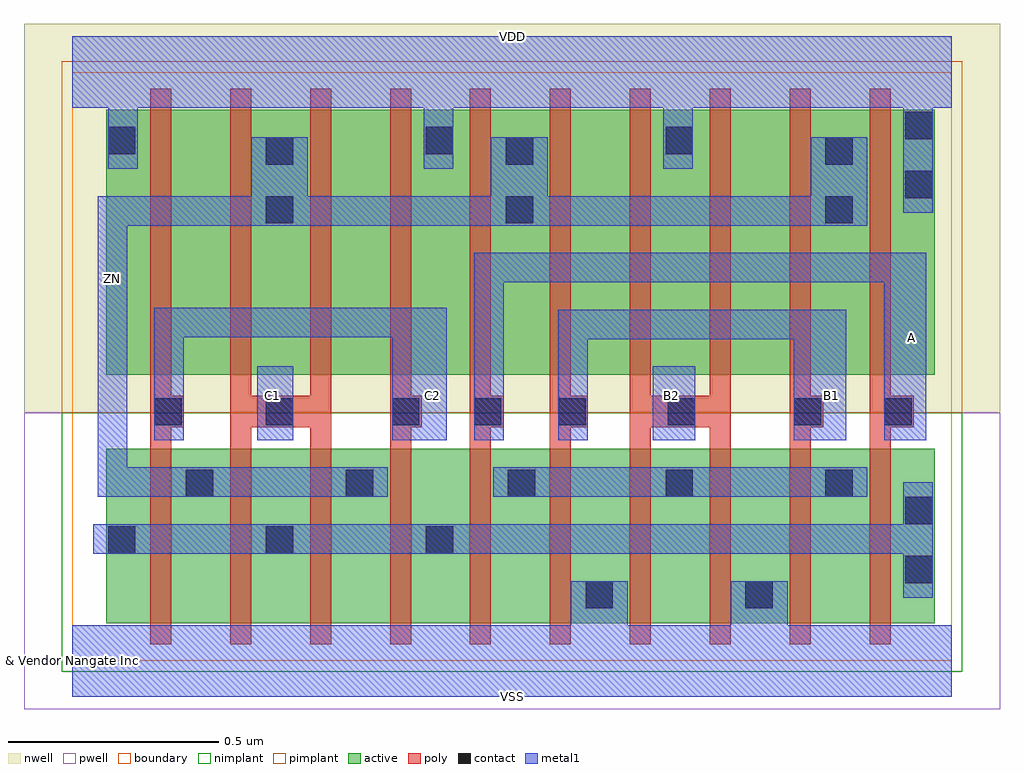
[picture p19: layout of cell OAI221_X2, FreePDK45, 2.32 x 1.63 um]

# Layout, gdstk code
import gdstk
lib = gdstk.Library(unit=1e-6, precision=1e-10)
def R(c, l, rs):  # rectangles x0, y0, x1, y1
    for r in rs: c.add(gdstk.rectangle(r[:2], r[2:], *l))
def P(c, l, *ps):  # polygons
    for p in ps: c.add(gdstk.Polygon(p, *l))
active = (1, 0)
pwell = (2, 0)
nwell = (3, 0)
nimplant = (4, 0)
pimplant = (5, 0)
poly = (9, 0)
contact = (10, 0)
metal1 = (11, 0)
boundary = (235, 0)

oai221_x2 = lib.new_cell('OAI221_X2')
R(oai221_x2, active, [(0.08,0.09,2.05,0.505), (0.08,0.68,2.05,1.31)])
R(oai221_x2, pwell, [(-0.115,-0.115,2.205,0.59)])
R(oai221_x2, nwell, [(-0.115,0.59,2.205,1.515)])
R(oai221_x2, nimplant, [(-0.025,-0.025,2.115,0.59)])
R(oai221_x2, pimplant, [(-0.025,0.59,2.115,1.425)])
P(oai221_x2, poly, [(0.185,0.04),(0.185,1.36),(0.235,1.36),(0.235,0.63),(0.265,0.63),(0.265,0.555),(0.235,0.555),(0.235,0.04)],
  [(0.375,0.04),(0.375,1.36),(0.425,1.36),(0.425,0.63),(0.565,0.63),(0.565,1.36),(0.615,1.36),(0.615,0.04),(0.565,0.04),(0.565,0.555),(0.425,0.555),(0.425,0.04)],
  [(0.755,0.04),(0.755,1.36),(0.805,1.36),(0.805,0.63),(0.83,0.63),(0.83,0.555),(0.805,0.555),(0.805,0.04)],
  [(0.945,0.04),(0.945,1.36),(0.995,1.36),(0.995,0.63),(1.025,0.63),(1.025,0.555),(0.995,0.555),(0.995,0.04)],
  [(1.135,0.04),(1.135,1.36),(1.185,1.36),(1.185,0.63),(1.225,0.63),(1.225,0.555),(1.185,0.555),(1.185,0.04)],
  [(1.325,0.04),(1.325,1.36),(1.375,1.36),(1.375,0.63),(1.515,0.63),(1.515,1.36),(1.565,1.36),(1.565,0.04),(1.515,0.04),(1.515,0.555),(1.375,0.555),(1.375,0.04)],
  [(1.705,0.04),(1.705,1.36),(1.755,1.36),(1.755,0.63),(1.785,0.63),(1.785,0.555),(1.755,0.555),(1.755,0.04)],
  [(1.895,0.04),(1.895,1.36),(1.945,1.36),(1.945,0.63),(2,0.63),(2,0.555),(1.945,0.555),(1.945,0.04)])
R(oai221_x2, contact, [(1.22,0.125,1.285,0.19), (1.6,0.125,1.665,0.19), (1.98,0.185,2.045,0.25), (0.085,0.255,0.15,0.32), (0.46,0.255,0.525,0.32), (0.84,0.255,0.905,0.32), (1.98,0.325,2.045,0.39), (0.27,0.39,0.335,0.455), (0.65,0.39,0.715,0.455), (1.035,0.39,1.1,0.455), (1.41,0.39,1.475,0.455), (1.79,0.39,1.855,0.455), (0.195,0.56,0.26,0.625), (0.46,0.56,0.525,0.625), (0.76,0.56,0.825,0.625), (0.955,0.56,1.02,0.625), (1.155,0.56,1.22,0.625), (1.415,0.56,1.48,0.625), (1.715,0.56,1.78,0.625), (1.93,0.56,1.995,0.625), (0.46,1.04,0.525,1.105), (1.03,1.04,1.095,1.105), (1.79,1.04,1.855,1.105), (1.98,1.1,2.045,1.165), (0.46,1.18,0.525,1.245), (1.03,1.18,1.095,1.245), (1.79,1.18,1.855,1.245), (0.085,1.205,0.15,1.27), (0.84,1.205,0.905,1.27), (1.41,1.205,1.475,1.27), (1.98,1.24,2.045,1.305)])
R(oai221_x2, metal1, [(1,0.39,1.89,0.46), (0.44,0.525,0.525,0.7), (1.38,0.525,1.48,0.7)])
P(oai221_x2, metal1, [(0.195,0.525),(0.195,0.84),(0.89,0.84),(0.89,0.525),(0.76,0.525),(0.76,0.77),(0.265,0.77),(0.265,0.525)],
  [(1.155,0.525),(1.155,0.835),(1.84,0.835),(1.84,0.525),(1.715,0.525),(1.715,0.765),(1.225,0.765),(1.225,0.525)],
  [(0.06,0.39),(0.06,1.105),(0.425,1.105),(0.425,1.245),(0.56,1.245),(0.56,1.105),(0.995,1.105),(0.995,1.245),(1.13,1.245),(1.13,1.105),(1.755,1.105),(1.755,1.245),(1.89,1.245),(1.89,1.035),(0.13,1.035),(0.13,0.46),(0.75,0.46),(0.75,0.39)],
  [(0.955,0.525),(0.955,0.97),(2.03,0.97),(2.03,0.525),(1.93,0.525),(1.93,0.9),(1.025,0.9),(1.025,0.525)],
  [(1.975,0.15),(1.975,0.255),(0.05,0.255),(0.05,0.325),(1.975,0.325),(1.975,0.425),(2.045,0.425),(2.045,0.15)],
  [(0,-0.085),(0,0.085),(1.185,0.085),(1.185,0.19),(1.32,0.19),(1.32,0.085),(1.565,0.085),(1.565,0.19),(1.7,0.19),(1.7,0.085),(2.09,0.085),(2.09,-0.085)],
  [(1.975,1.065),(1.975,1.315),(1.475,1.315),(1.475,1.17),(1.405,1.17),(1.405,1.315),(0.905,1.315),(0.905,1.17),(0.835,1.17),(0.835,1.315),(0.155,1.315),(0.155,1.17),(0.085,1.17),(0.085,1.315),(0,1.315),(0,1.485),(2.09,1.485),(2.09,1.315),(2.045,1.315),(2.045,1.065)])
R(oai221_x2, boundary, [(0,0,2.09,1.4)])
oai221_x2.add(gdstk.Label('A', (1.995,0.77), layer=11, texttype=0))
oai221_x2.add(gdstk.Label('B1', (1.805,0.63), layer=11, texttype=0))
oai221_x2.add(gdstk.Label('B2', (1.425,0.63), layer=11, texttype=0))
oai221_x2.add(gdstk.Label('C1', (0.475,0.63), layer=11, texttype=0))
oai221_x2.add(gdstk.Label('C2', (0.855,0.63), layer=11, texttype=0))
oai221_x2.add(gdstk.Label('VDD', (1.045,1.485), layer=11, texttype=0))
oai221_x2.add(gdstk.Label('VSS', (1.045,-0.085), layer=11, texttype=0))
oai221_x2.add(gdstk.Label('ZN', (0.095,0.91), layer=11, texttype=0))
oai221_x2.add(gdstk.Label('& Vendor Nangate Inc', (0,0), layer=63, texttype=63))
oai221_x2.add(gdstk.Label('& Product Open Cell Library', (0,0), layer=63, texttype=63))
oai221_x2.add(gdstk.Label('& Version 2010_12', (0,0), layer=63, texttype=63))
oai221_x2.add(gdstk.Label('& Instance OAI221_X2', (0,0), layer=63, texttype=63))

lib.write_gds('OAI221_X2.gds')
